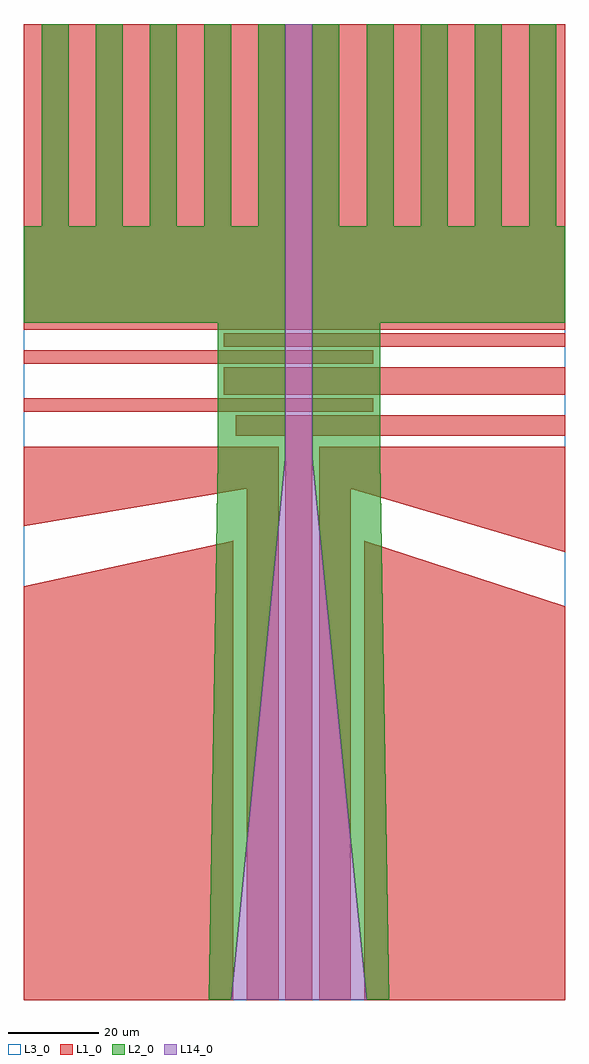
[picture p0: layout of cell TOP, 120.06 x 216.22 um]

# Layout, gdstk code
import gdstk
lib = gdstk.Library(unit=1e-6, precision=1e-09)
def R(c, l, rs):  # rectangles x0, y0, x1, y1
    for r in rs: c.add(gdstk.rectangle(r[:2], r[2:], *l))
def P(c, l, *ps):  # polygons
    for p in ps: c.add(gdstk.Polygon(p, *l))
L1_0 = (1, 0)
L2_0 = (2, 0)
L3_0 = (3, 0)
L14_0 = (14, 0)

top = lib.new_cell('TOP')
R(top, L1_0, [(-65.365,6.858,12.086,9.858), (-21.078,10.658,54.618,16.658), (-65.365,17.458,12.086,20.458), (-21.078,21.258,54.618,24.258), (-65.365,25.058,54.618,92.748)])
P(top, L1_0, [(0.108,-123.47),(0.108,-0.942),(54.618,-0.942),(54.618,-24.237),(7.108,-10.215),(7.108,-123.47)],
  [(10.108,-123.47),(10.108,-21.734),(54.618,-36.293),(54.618,-123.47)],
  [(-65.365,-123.47),(-65.365,-31.792),(-18.892,-21.734),(-18.892,-123.47)],
  [(-7.392,-123.47),(-7.392,1.558),(-18.392,1.558),(-18.392,6.058),(54.618,6.058),(54.618,1.558),(-1.392,1.558),(-1.392,-123.47)],
  [(-15.892,-123.47),(-15.892,-10.215),(-65.365,-18.541),(-65.365,-0.942),(-8.892,-0.942),(-8.892,-123.47)])
P(top, L2_0, [(-24.392,-123.442),(-22.392,-3.442),(-22.392,26.51),(-65.378,26.51),(-65.378,47.952),(-61.392,47.952),(-61.392,92.739),(-55.392,92.739),(-55.392,47.952),(-49.392,47.952),(-49.392,92.739),(-43.392,92.739),(-43.392,47.952),(-37.392,47.952),(-37.392,92.739),(-31.392,92.739),(-31.392,47.952),(-25.392,47.952),(-25.392,92.739),(-19.392,92.739),(-19.392,47.952),(-13.392,47.952),(-13.392,92.739),(-7.392,92.739),(-7.392,-3.442),(-19.392,-123.442)],
  [(10.608,-123.442),(-1.392,-3.442),(-1.392,92.739),(4.608,92.739),(4.608,47.952),(10.608,47.952),(10.608,92.739),(16.608,92.739),(16.608,47.952),(22.608,47.952),(22.608,92.739),(28.608,92.739),(28.608,47.952),(34.608,47.952),(34.608,92.739),(40.608,92.739),(40.608,47.952),(46.608,47.952),(46.608,92.739),(52.608,92.739),(52.608,47.952),(54.677,47.952),(54.677,26.51),(13.608,26.51),(13.608,-3.442),(15.608,-123.442)])
R(top, L3_0, [(-65.365,-123.47,54.618,92.748)])
P(top, L14_0, [(-19.392,-123.442),(-7.392,-3.442),(-7.392,92.739),(-1.392,92.739),(-1.392,-3.442),(10.608,-123.442)])

lib.write_gds('TOP.gds')
